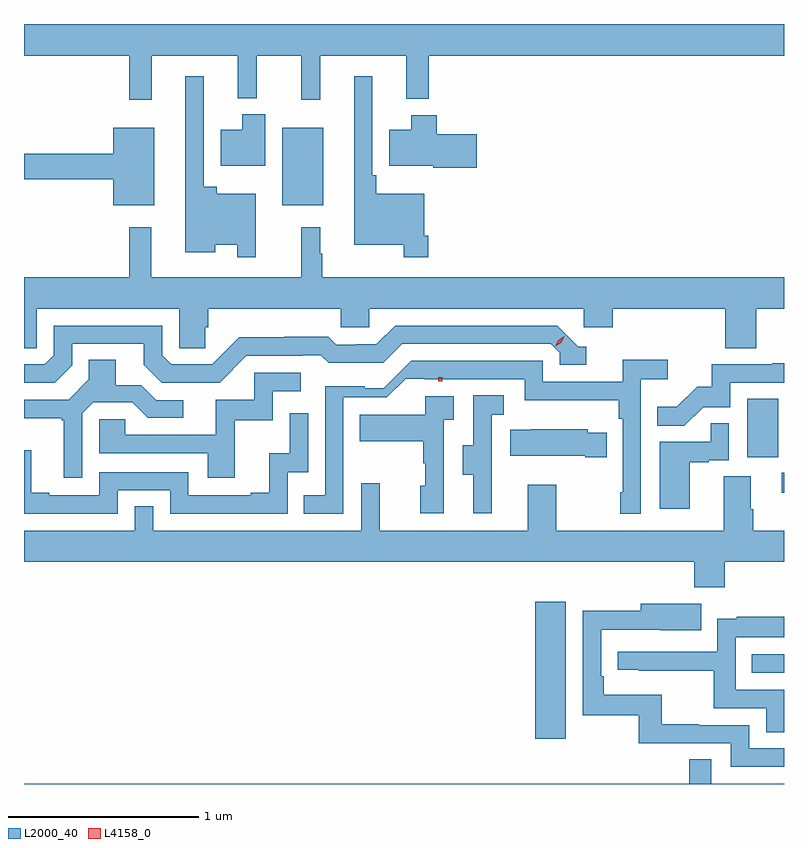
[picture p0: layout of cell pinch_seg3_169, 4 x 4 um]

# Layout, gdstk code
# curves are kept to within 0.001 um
import gdstk
lib = gdstk.Library(unit=1e-6, precision=1e-09)
def R(c, l, rs):  # rectangles x0, y0, x1, y1
    for r in rs: c.add(gdstk.rectangle(r[:2], r[2:], *l))
def P(c, l, *ps):  # polygons
    for p in ps: c.add(gdstk.Polygon(p, *l))
L2000_40 = (2000, 40)
L4158_0 = (4158, 0)

pinch_seg3_169 = lib.new_cell('pinch_seg3_169')
R(pinch_seg3_169, L2000_40, [(1129.724,711.972,1129.885,712.693), (1130.863,712.32,1131.033,712.416), (1131.021,713.268,1131.033,713.373), (1130.84,713.454,1131.004,713.761), (1128.392,714.779,1128.607,715.189)])
P(pinch_seg3_169, L2000_40, [(1127.705,715.568),(1128.158,715.568),(1128.158,715.343),(1128.258,715.343),(1128.258,715.568),(1128.493,715.568),(1128.493,715.335),(1128.593,715.335),(1128.593,715.568),(1129.046,715.568),(1129.046,715.34),(1129.163,715.34),(1129.163,715.568),(1131.033,715.568),(1131.033,715.732),(1128.936,715.732),(1128.936,715.734),(1128.824,715.734),(1128.824,715.732),(1128.371,715.732),(1128.371,715.734),(1128.253,715.734),(1128.253,715.732),(1127.033,715.732),(1127.033,715.568),(1127.587,715.568),(1127.587,715.335),(1127.705,715.335)],
  [(1129.16,714.619),(1129.14,714.619),(1129.14,714.841),(1128.887,714.841),(1128.887,714.937),(1128.867,714.937),(1128.867,715.459),(1128.77,715.459),(1128.77,714.572),(1129.032,714.572),(1129.032,714.507),(1129.16,714.507)],
  [(1128.252,714.841),(1128.048,714.841),(1128.048,714.877),(1127.979,714.877),(1127.979,715.459),(1127.882,715.459),(1127.882,714.533),(1128.04,714.533),(1128.04,714.572),(1128.156,714.572),(1128.156,714.507),(1128.252,714.507)],
  [(1128.304,715.258),(1128.182,715.258),(1128.182,715.177),(1128.068,715.177),(1128.068,714.989),(1128.304,714.989)],
  [(1129.417,715.155),(1129.205,715.155),(1129.205,715.255),(1129.07,715.255),(1129.07,715.177),(1128.956,715.177),(1128.956,714.989),(1129.188,714.989),(1129.188,714.977),(1129.417,714.977)],
  [(1127.719,715.189),(1127.504,715.189),(1127.504,715.052),(1127.033,715.052),(1127.033,714.916),(1127.504,714.916),(1127.504,714.779),(1127.719,714.779)],
  [(1127.1,714.236),(1127.85,714.236),(1127.85,714.028),(1127.987,714.028),(1127.987,714.138),(1128.002,714.138),(1128.002,714.236),(1128.699,714.236),(1128.699,714.138),(1128.849,714.138),(1128.849,714.236),(1129.98,714.236),(1129.98,714.138),(1130.132,714.138),(1130.132,714.236),(1130.723,714.236),(1130.723,714.028),(1130.888,714.028),(1130.888,714.236),(1131.033,714.236),(1131.033,714.4),(1128.604,714.4),(1128.604,714.524),(1128.592,714.524),(1128.592,714.664),(1128.493,714.664),(1128.493,714.4),(1127.704,714.4),(1127.704,714.664),(1127.587,714.664),(1127.587,714.4),(1127.033,714.4),(1127.033,714.028),(1127.1,714.028)],
  [(1127.286,713.937),(1127.286,714.051),(1127.663,714.051),(1127.663,713.941),(1127.757,713.847),(1128.063,713.847),(1128.204,713.988),(1128.497,713.988),(1128.497,713.991),(1128.596,713.991),(1128.636,713.951),(1128.924,713.952),(1129.023,714.051),(1129.806,714.051),(1129.854,714.003),(1129.854,713.94),(1129.993,713.94),(1129.993,714.036),(1129.95,714.036),(1129.839,714.147),(1128.986,714.147),(1128.887,714.048),(1128.78,714.048),(1128.78,714.045),(1128.677,714.045),(1128.635,714.088),(1128.402,714.088),(1128.402,714.085),(1128.166,714.085),(1128.024,713.943),(1127.808,713.943),(1127.76,713.991),(1127.76,714.147),(1127.19,714.147),(1127.19,713.991),(1127.142,713.943),(1127.033,713.943),(1127.033,713.847),(1127.196,713.847)],
  [(1127.34,713.685),(1127.397,713.742),(1127.603,713.742),(1127.684,713.661),(1127.872,713.661),(1127.872,713.754),(1127.73,713.754),(1127.65,713.834),(1127.515,713.834),(1127.515,713.966),(1127.375,713.966),(1127.375,713.864),(1127.268,713.757),(1127.033,713.757),(1127.033,713.66),(1127.232,713.66),(1127.232,713.649),(1127.243,713.649),(1127.243,713.346),(1127.34,713.346)],
  [(1128.714,713.769),(1128.943,713.769),(1129.042,713.868),(1129.142,713.868),(1129.142,713.865),(1129.668,713.865),(1129.668,713.753),(1130.164,713.753),(1130.164,713.657),(1130.184,713.657),(1130.184,713.269),(1130.172,713.269),(1130.172,713.157),(1130.28,713.157),(1130.28,713.864),(1130.422,713.864),(1130.422,713.966),(1130.183,713.966),(1130.183,713.85),(1129.764,713.85),(1129.764,713.961),(1129.071,713.961),(1128.926,713.816),(1128.826,713.816),(1128.826,713.828),(1128.618,713.828),(1128.618,713.253),(1128.505,713.253),(1128.505,713.157),(1128.714,713.157)],
  [(1130.607,713.718),(1130.751,713.718),(1130.751,713.847),(1131.033,713.847),(1131.033,713.948),(1130.971,713.948),(1130.971,713.943),(1130.653,713.943),(1130.653,713.826),(1130.576,713.826),(1130.469,713.719),(1130.365,713.719),(1130.365,713.62),(1130.509,713.62)],
  [(1128.143,713.649),(1128.342,713.649),(1128.342,713.802),(1128.49,713.802),(1128.49,713.898),(1128.246,713.898),(1128.246,713.757),(1128.041,713.757),(1128.041,713.571),(1127.567,713.571),(1127.567,713.655),(1127.43,713.655),(1127.43,713.475),(1127.999,713.475),(1127.999,713.346),(1128.143,713.346)],
  [(1129.496,713.373),(1129.494,713.373),(1129.494,713.677),(1129.558,713.677),(1129.558,713.78),(1129.398,713.78),(1129.398,713.517),(1129.343,713.517),(1129.343,713.362),(1129.397,713.362),(1129.397,713.16),(1129.496,713.16)],
  [(1129.242,713.651),(1129.294,713.651),(1129.294,713.776),(1129.146,713.776),(1129.146,713.677),(1128.799,713.677),(1128.799,713.537),(1129.134,713.537),(1129.134,713.423),(1129.144,713.423),(1129.144,713.304),(1129.118,713.304),(1129.118,713.16),(1129.242,713.16)],
  [(1127.526,713.28),(1127.802,713.28),(1127.802,713.157),(1128.42,713.157),(1128.42,713.376),(1128.528,713.376),(1128.528,713.686),(1128.432,713.686),(1128.432,713.474),(1128.323,713.474),(1128.323,713.266),(1128.227,713.266),(1128.227,713.253),(1127.898,713.253),(1127.898,713.376),(1127.43,713.376),(1127.43,713.253),(1127.167,713.253),(1127.167,713.266),(1127.071,713.266),(1127.071,713.491),(1127.033,713.491),(1127.033,713.157),(1127.526,713.157)],
  [(1130.536,713.427),(1130.636,713.427),(1130.636,713.439),(1130.742,713.439),(1130.742,713.633),(1130.647,713.633),(1130.647,713.535),(1130.378,713.535),(1130.378,713.184),(1130.536,713.184)],
  [(1130.099,713.584),(1130.001,713.584),(1130.001,713.602),(1129.699,713.602),(1129.699,713.599),(1129.591,713.599),(1129.591,713.462),(1129.988,713.462),(1129.988,713.455),(1130.099,713.455)],
  [(1130.721,712.904),(1131.033,712.904),(1131.033,713.068),(1130.87,713.068),(1130.87,713.18),(1130.857,713.18),(1130.857,713.354),(1130.717,713.354),(1130.717,713.068),(1129.833,713.068),(1129.833,713.308),(1129.685,713.308),(1129.685,713.068),(1128.905,713.068),(1128.905,713.317),(1128.807,713.317),(1128.807,713.068),(1127.712,713.068),(1127.712,713.195),(1127.616,713.195),(1127.616,713.068),(1127.033,713.068),(1127.033,712.904),(1130.561,712.904),(1130.561,712.769),(1130.721,712.769)],
  [(1131.033,711.921),(1130.85,711.921),(1130.85,712.044),(1130.585,712.044),(1130.585,712.049),(1130.389,712.049),(1130.389,712.204),(1130.084,712.204),(1130.084,712.3),(1130.07,712.3),(1130.07,712.545),(1130.383,712.545),(1130.383,712.544),(1130.597,712.544),(1130.597,712.684),(1130.279,712.684),(1130.279,712.646),(1129.974,712.646),(1129.974,712.095),(1130.268,712.095),(1130.268,711.948),(1130.754,711.948),(1130.754,711.825),(1131.033,711.825)],
  [(1131.033,712.23),(1130.778,712.23),(1130.778,712.506),(1131.033,712.506),(1131.033,712.615),(1130.785,712.615),(1130.785,712.603),(1130.682,712.603),(1130.682,712.431),(1130.157,712.431),(1130.157,712.335),(1130.269,712.335),(1130.269,712.33),(1130.662,712.33),(1130.662,712.134),(1130.939,712.134),(1130.939,712.006),(1131.033,712.006)],
  [(1131.033,711.736),(1130.649,711.736),(1130.649,711.863),(1130.533,711.863),(1130.533,711.736),(1127.033,711.736),(1127.033,711.734),(1131.033,711.734)])
R(pinch_seg3_169, L4158_0, [(1129.214,713.854,1129.234,713.874)])
P(pinch_seg3_169, L4158_0, [(1129.83,714.037),(1129.83,714.037),(1129.845,714.07),(1129.876,714.09),(1129.876,714.09),(1129.876,714.09),(1129.86,714.057),(1129.83,714.037)])

lib.write_gds('pinch_seg3_169.gds')
